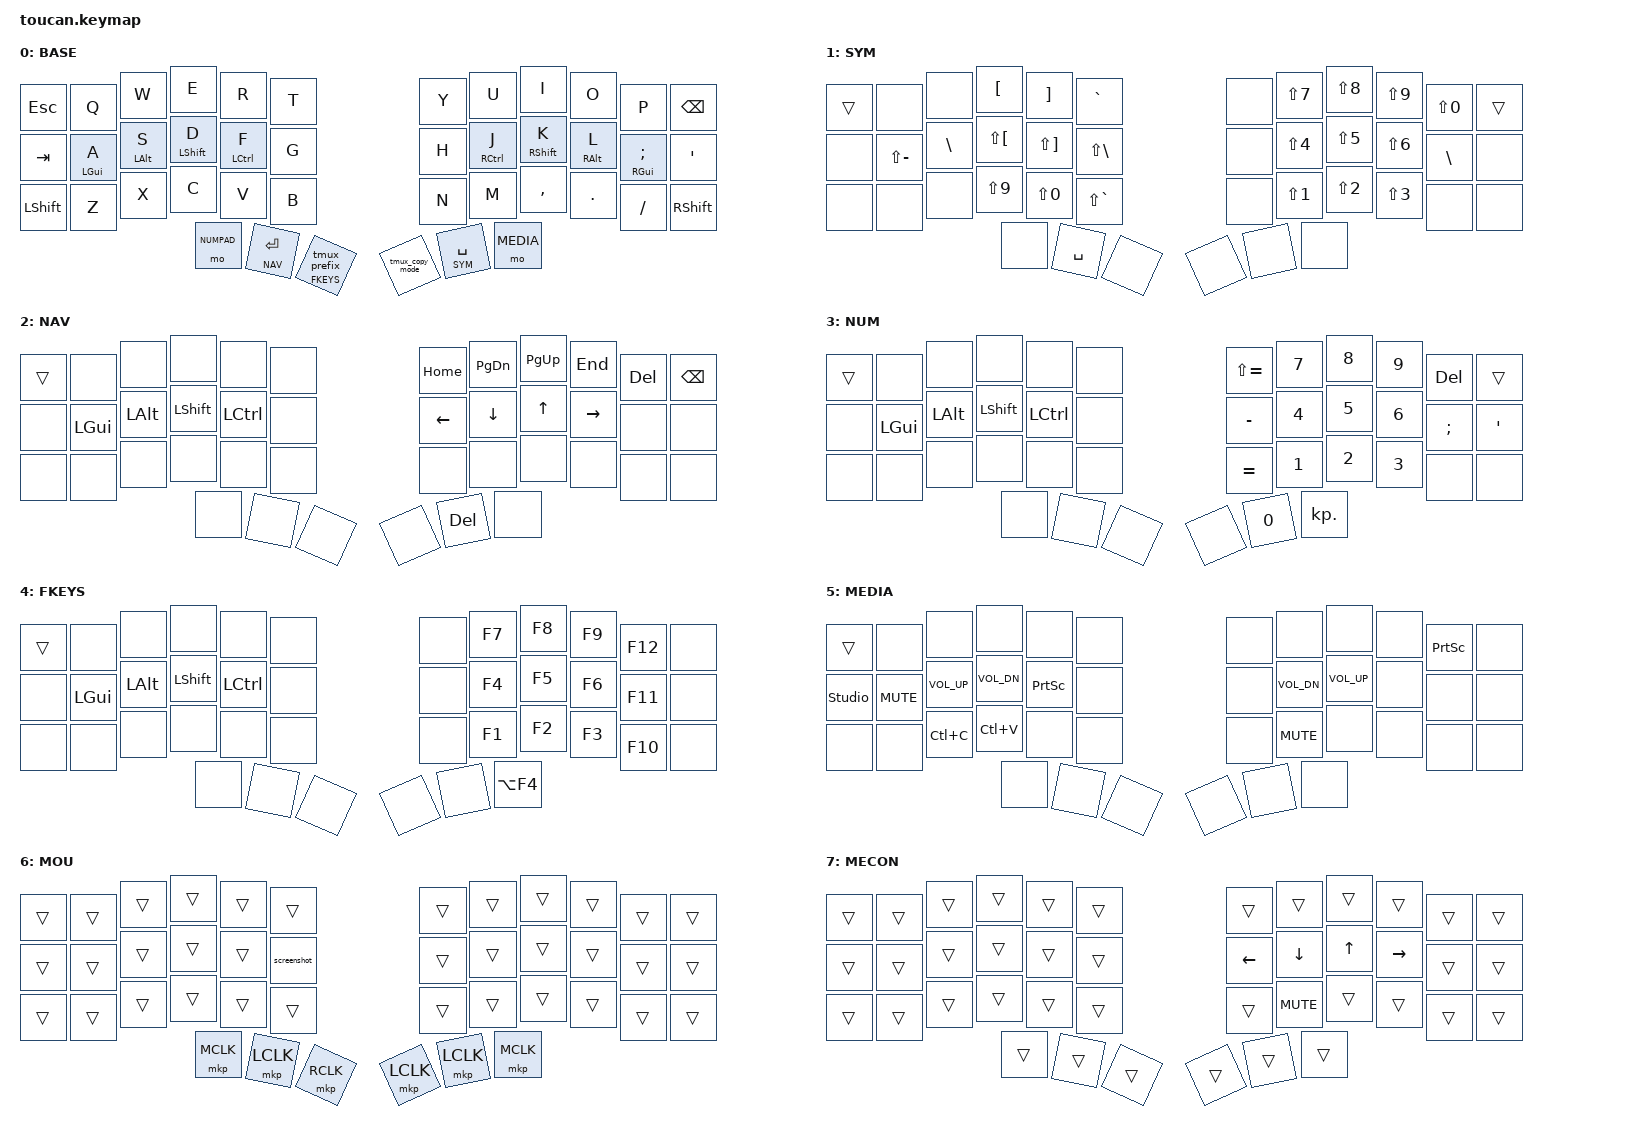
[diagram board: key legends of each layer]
#include <behaviors.dtsi>
#include <dt-bindings/zmk/keys.h>
#include <dt-bindings/zmk/bt.h>
#include <dt-bindings/zmk/outputs.h>
#include <dt-bindings/zmk/pointing.h>

#define BASE   0
#define SYM    1
#define NAV    2
#define NUMPAD 3
#define FKEYS  4
#define MEDIA  5
#define MOU    6
#define MEC    7

/ {
    behaviors {
        hml: homerow_mods_left {
            compatible = "zmk,behavior-hold-tap";
            #binding-cells = <2>;
            flavor = "balanced";
            tapping-term-ms = <200>;
            quick-tap-ms = <175>;
            require-prior-idle-ms = <150>;
            bindings = <&kp>, <&kp>;
            hold-trigger-key-positions = <6 7 8 9 10 11 18 19 20 21 22 23 30 31 32 33 34 35 36 37 38 39 40 41>;
            hold-trigger-on-release;
        };

        hmr: homerow_mods_right {
            compatible = "zmk,behavior-hold-tap";
            #binding-cells = <2>;
            flavor = "balanced";
            tapping-term-ms = <200>;
            quick-tap-ms = <175>;
            require-prior-idle-ms = <150>;
            bindings = <&kp>, <&kp>;
            hold-trigger-key-positions = <0 1 2 3 4 5 12 13 14 15 16 17 24 25 26 27 28 29 36 37 38 39 40 41>;
            hold-trigger-on-release;
        };

        tmux_prefix: tmux_prefix {
            compatible = "zmk,behavior-macro";
            #binding-cells = <0>;
            bindings = <&kp LC(B) &kp SPACE>;
        };

        tmux_copy_mode: tmux_copy_mode {
            compatible = "zmk,behavior-macro";
            #binding-cells = <0>;
            bindings = <&kp LC(B) &kp LBKT>;
        };

        screenshot: screenshot {
            compatible = "zmk,behavior-macro";
            #binding-cells = <0>;
            bindings = <&kp PSCRN>;
        };

        tmux_fkeys: tmux_fkeys {
            compatible = "zmk,behavior-hold-tap";
            #binding-cells = <2>;
            flavor = "hold-preferred";
            tapping-term-ms = <200>;
            bindings = <&mo>, <&tmux_prefix>;
        };

    };

    combos {
        compatible = "zmk,combos";
        combo_studio_unlock {
            timeout-ms = <50>;
            key-positions = <0 11>;
            bindings = <&studio_unlock>;
        };
        // Hard escape from a stuck MOU layer (e.g. if the trackpad's touch
        // release event gets lost over the split link). Works from any
        // layer since combos resolve before layer bindings, and &to force-
        // clears every active layer on press alone.
        // All 3 left thumb keys at once. Left hand on purpose: the trackpad
        // and the stuck-release bug live on the right split, so the escape
        // must not depend on any right-side key working.
        combo_mou_escape {
            timeout-ms = <100>;
            key-positions = <36 37 38>;
            bindings = <&to BASE>;
        };
        // All 3 right thumb keys at once toggles the MEC layer on/off.
        combo_mec_toggle {
            timeout-ms = <50>;
            key-positions = <39 40 41>;
            bindings = <&tog MEC>;
        };
    };

    keymap {
        compatible = "zmk,keymap";

        base {
            display-name = "BASE";
            bindings = <
                &kp ESC   &kp Q &kp W &kp E &kp R &kp T   &kp Y &kp U  &kp I     &kp O   &kp P    &kp BSPC
                &kp TAB   &hml LGUI A &hml LALT S &hml LSHFT D &hml LCTRL F &kp G   &kp H &hmr RCTRL J &hmr RSHFT K &hmr RALT L &hmr RGUI SEMI &kp SQT
                &kp LSHFT &kp Z &kp X &kp C &kp V &kp B   &kp N &kp M  &kp COMMA &kp DOT &kp FSLH &kp RSHFT
                                &mo NUMPAD &lt NAV RET &tmux_fkeys FKEYS 0   &tmux_copy_mode &lt SYM SPACE &mo MEDIA
            >;
        };

        sym {
            display-name = "SYM";
            bindings = <
                &trans &none &none &kp LBKT &kp RBKT &kp GRAVE   &none &kp LS(N7) &kp LS(N8) &kp LS(N9) &kp LS(N0) &trans
                &none  &kp LS(MINUS) &kp BSLH &kp LS(LBKT) &kp LS(RBKT) &kp LS(BSLH)   &none &kp LS(N4) &kp LS(N5) &kp LS(N6) &kp BSLH &none
                &none  &none &none &kp LS(N9) &kp LS(N0) &kp LS(GRAVE)   &none &kp LS(N1) &kp LS(N2) &kp LS(N3) &none &none
                                &none &kp SPACE &none   &none &none &none
            >;
        };

        nav {
            display-name = "NAV";
            bindings = <
                &trans &none &none &none &none &none   &kp HOME &kp PG_DN &kp PG_UP &kp END &kp DEL &kp BSPC
                &none  &kp LGUI &kp LALT &kp LSHFT &kp LCTRL &none   &kp LEFT &kp DOWN &kp UP &kp RIGHT &none &none
                &none  &none &none &none &none &none   &none &none &none &none &none &none
                                &none &none &none   &none &kp DEL &none
            >;
        };

        numpad {
            display-name = "NUM";
            bindings = <
                &trans &none &none &none &none &none   &kp LS(EQUAL) &kp N7 &kp N8 &kp N9 &kp DEL &trans
                &none  &kp LGUI &kp LALT &kp LSHFT &kp LCTRL &none   &kp MINUS &kp N4 &kp N5 &kp N6 &kp SEMI &kp SQT
                &none  &none &none &none &none &none   &kp EQUAL &kp N1 &kp N2 &kp N3 &none &none
                                &none &none &none   &none &kp N0 &kp KP_DOT
            >;
        };

        fkeys {
            display-name = "FKEYS";
            bindings = <
                &trans &none &none &none &none &none   &none &kp F7 &kp F8 &kp F9 &kp F12 &none
                &none  &kp LGUI &kp LALT &kp LSHFT &kp LCTRL &none   &none &kp F4 &kp F5 &kp F6 &kp F11 &none
                &none  &none &none &none &none &none   &none &kp F1 &kp F2 &kp F3 &kp F10 &none
                                &none &none &none   &none &none &kp LA(F4)
            >;
        };

        media {
            display-name = "MEDIA";
            bindings = <
                &trans &none &none &none &none &none   &none &none &none &none &kp PSCRN &none
                &studio_unlock &kp C_MUTE &kp C_VOL_UP &kp C_VOL_DN &kp PSCRN &none   &none &kp C_VOL_DN &kp C_VOL_UP &none &none &none
                &none  &none &kp LC(C) &kp LC(V) &none &none   &none &kp C_MUTE &none &none &none &none
                                &none &none &none   &none &none &none
            >;
        };

        mou {
            display-name = "MOU";
            bindings = <
                &trans &trans &trans &trans &trans &trans   &trans &trans &trans &trans &trans &trans
                &trans &trans &trans &trans &trans &screenshot   &trans &trans &trans &trans &trans &trans
                &trans &trans &trans &trans &trans &trans   &trans &trans &trans &trans &trans &trans
                                &mkp MCLK &mkp LCLK &mkp RCLK   &mkp LCLK &mkp LCLK &mkp MCLK
            >;
        };

        mec {
            display-name = "MECON";
            bindings = <
                &trans &trans &trans &trans &trans &trans   &trans &trans &trans &trans &trans &trans
                &trans &trans &trans &trans &trans &trans   &kp LEFT &kp DOWN &kp UP &kp RIGHT &trans &trans
                &trans &trans &trans &trans &trans &trans   &trans &kp C_MUTE &trans &trans &trans &trans
                                &trans &trans &trans   &trans &trans &trans
            >;
        };
    };
};
